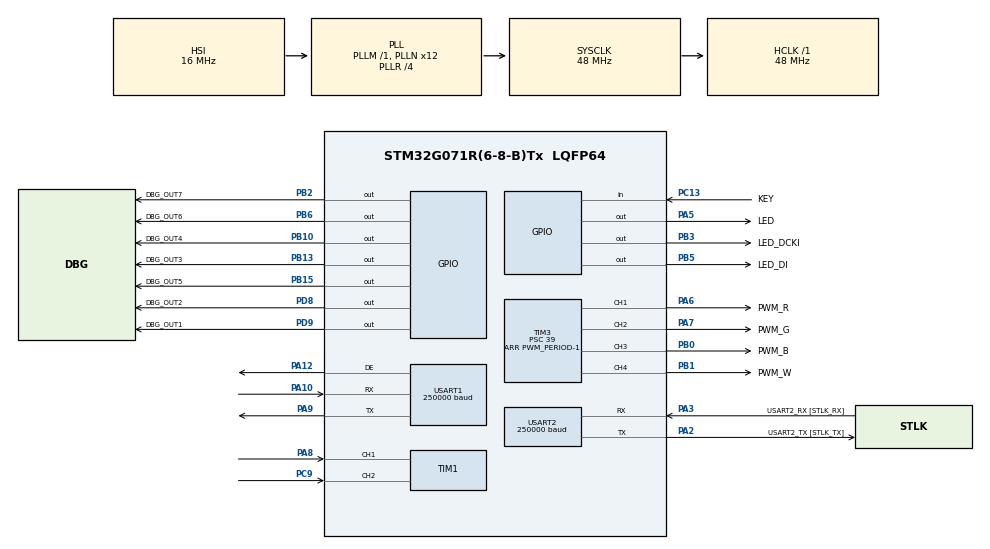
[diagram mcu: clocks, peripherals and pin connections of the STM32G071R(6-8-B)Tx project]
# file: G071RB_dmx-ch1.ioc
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Mcu.Family=STM32G0
Mcu.Name=STM32G071R(6-8-B)Tx
Mcu.Package=LQFP64
Mcu.UserConstants=PWM_PERIOD,1000;PWM_B_INIT,240
NVIC.TIM1_CC_IRQn=true\:0\:0\:false\:false\:true\:true\:true\:true
NVIC.USART1_IRQn=true\:0\:0\:false\:false\:true\:true\:true\:true
PA10.Mode=Asynchronous
PA10.Signal=USART1_RX
PA12\ [PA10].Mode=Hardware Flow Control (RS485)
PA12\ [PA10].Signal=USART1_DE
PA13.GPIO_Label=TMS
PA13.Mode=Serial_Wire
PA13.Signal=SYS_SWDIO
PA14-BOOT0.GPIO_Label=TCK
PA14-BOOT0.Mode=Serial_Wire
PA14-BOOT0.Signal=SYS_SWCLK
PA2.GPIO_Label=USART2_TX [STLK_TX]
PA2.GPIO_PuPd=GPIO_PULLUP
PA2.Mode=Asynchronous
PA2.Signal=USART2_TX
PA3.GPIO_Label=USART2_RX [STLK_RX]
PA3.GPIO_PuPd=GPIO_PULLUP
PA3.Mode=Asynchronous
PA3.Signal=USART2_RX
PA5.GPIO_Label=LED
PA5.GPIO_Speed=GPIO_SPEED_FREQ_LOW
PA5.Signal=GPIO_Output
PA6.GPIO_Label=PWM_R
PA6.Signal=S_TIM3_CH1
PA7.GPIO_Label=PWM_G
PA7.Signal=S_TIM3_CH2
PA8.Signal=S_TIM1_CH1
PA9.Mode=Asynchronous
PA9.Signal=USART1_TX
PB0.GPIO_Label=PWM_B
PB0.Signal=S_TIM3_CH3
PB1.GPIO_Label=PWM_W
PB1.Signal=S_TIM3_CH4
PB10.GPIO_Label=DBG_OUT4
PB10.Signal=GPIO_Output
PB13.GPIO_Label=DBG_OUT3
PB13.Signal=GPIO_Output
PB15.GPIO_Label=DBG_OUT5
PB15.Signal=GPIO_Output
PB2.GPIO_Label=DBG_OUT7
PB2.Signal=GPIO_Output
PB3.GPIO_Label=LED_DCKI
PB3.Signal=GPIO_Output
PB5.GPIO_Label=LED_DI
PB5.Signal=GPIO_Output
PB6.GPIO_Label=DBG_OUT6
PB6.Signal=GPIO_Output
PC13.GPIO_Label=KEY
PC13.Signal=GPIO_Input
PC14-OSC32_IN\ (PC14).Signal=RCC_OSC32_IN
PC15-OSC32_OUT\ (PC15).Signal=RCC_OSC32_OUT
PC9.Signal=S_TIM1_CH2
PD8.GPIO_Label=DBG_OUT2
PD8.Signal=GPIO_Output
PD9.GPIO_Label=DBG_OUT1
PD9.Signal=GPIO_Output
PF0-OSC_IN\ (PF0).GPIO_Label=MCO
PF0-OSC_IN\ (PF0).Signal=RCC_OSC_IN
ProjectManager.HeapSize=0x200
ProjectManager.StackSize=0x400
ProjectManager.TargetToolchain=STM32CubeIDE
RCC.ADCFreq_Value=48000000
RCC.AHBFreq_Value=48000000
RCC.APB1CLKDivider=RCC_HCLK_DIV2
RCC.CortexFreq_Value=48000000
RCC.EXTERNAL_CLOCK_VALUE=12288000
RCC.HCLKFreq_Value=48000000
RCC.HSE_VALUE=8000000
RCC.HSI_VALUE=16000000
RCC.LSE_VALUE=32768
RCC.PLLN=12
RCC.PLLQ=RCC_PLLQ_DIV6
RCC.PLLR=RCC_PLLR_DIV4
RCC.SYSCLKFreq_VALUE=48000000
RCC.SYSCLKSource=RCC_SYSCLKSOURCE_PLLCLK
RCC.USART1CLockSelection=RCC_USART1CLKSOURCE_SYSCLK
RCC.USART2CLockSelection=RCC_USART2CLKSOURCE_SYSCLK
RCC.VCOOutputFreq_Value=192000000
SH.S_TIM1_CH1.0=TIM1_CH1,Input_Capture1_from_TI1
SH.S_TIM1_CH2.0=TIM1_CH2,Input_Capture2_from_TI2
SH.S_TIM3_CH1.0=TIM3_CH1,PWM Generation1 CH1
SH.S_TIM3_CH2.0=TIM3_CH2,PWM Generation2 CH2
SH.S_TIM3_CH3.0=TIM3_CH3,PWM Generation3 CH3
SH.S_TIM3_CH4.0=TIM3_CH4,PWM Generation4 CH4
TIM1.Channel-Input_Capture1_from_TI1=TIM_CHANNEL_1
TIM1.Channel-Input_Capture2_from_TI2=TIM_CHANNEL_2
TIM1.ICPolarity_CH1=TIM_INPUTCHANNELPOLARITY_FALLING
TIM3.Channel-PWM\ Generation1\ CH1=TIM_CHANNEL_1
TIM3.Channel-PWM\ Generation2\ CH2=TIM_CHANNEL_2
TIM3.Channel-PWM\ Generation3\ CH3=TIM_CHANNEL_3
TIM3.Channel-PWM\ Generation4\ CH4=TIM_CHANNEL_4
TIM3.OCPolarity_1=TIM_OCPOLARITY_LOW
TIM3.OCPolarity_2=TIM_OCPOLARITY_LOW
TIM3.OCPolarity_3=TIM_OCPOLARITY_LOW
TIM3.OCPolarity_4=TIM_OCPOLARITY_LOW
TIM3.Period=PWM_PERIOD-1
TIM3.Prescaler=39
TIM3.Pulse-PWM\ Generation1\ CH1=0
TIM3.Pulse-PWM\ Generation2\ CH2=0
TIM3.Pulse-PWM\ Generation3\ CH3=PWM_B_INIT
TIM3.Pulse-PWM\ Generation4\ CH4=0
USART1.BaudRate=250000
USART1.StopBits=STOPBITS_2
USART1.VirtualMode-Asynchronous=VM_ASYNC
USART1.VirtualMode-Hardware\ Flow\ Control\ (RS485)=VM_ASYNC
USART2.BaudRate=250000
USART2.VirtualMode-Asynchronous=VM_ASYNC
VP_SYS_VS_DBSignals.Mode=DisableDeadBatterySignals
VP_TIM1_VS_ClockSourceINT.Mode=Internal
VP_TIM3_VS_ClockSourceINT.Mode=Internal
board=NUCLEO-G071RB

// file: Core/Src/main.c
/* USER CODE BEGIN Header */
/**
 ******************************************************************************
 * @file           : main.c
 * @brief          : Main program body
 ******************************************************************************
 * @attention
 *
 * Copyright (c) 2024 STMicroelectronics.
 * All rights reserved.
 *
 * This software is licensed under terms that can be found in the LICENSE file
 * in the root directory of this software component.
 * If no LICENSE file comes with this software, it is provided AS-IS.
 *
 ******************************************************************************
 */
/* USER CODE END Header */
#include "main.h"

/* USER CODE BEGIN Includes */
#include "core.h"
//#include "curve.h"
//#include "led.h"

//#include "usb_device.h"
/* USER CODE END Includes */

/* USER CODE BEGIN PD */
#define PROG_NAME       "G071RB DMX512 slave ch1+\r\n"
#define PROG_VERSION    "(02/06/24) beta 0.1\r\n"

/* USER CODE END PD */

TIM_HandleTypeDef htim1;
TIM_HandleTypeDef htim3;

UART_HandleTypeDef huart1;
UART_HandleTypeDef huart2;

void SystemClock_Config(void);
static void MX_GPIO_Init(void);
static void MX_USART2_UART_Init(void);
static void MX_TIM3_Init(void);
static void MX_USART1_UART_Init(void);
static void MX_TIM1_Init(void);
/* USER CODE BEGIN PFP */
#ifdef __GNUC__
/* With GCC/RAISONANCE, small printf (option LD Linker->Libraries->Small printf
 set to 'Yes') calls __io_putchar() */
#define PUTCHAR_PROTOTYPE int __io_putchar(int ch)
#else
#define PUTCHAR_PROTOTYPE int fputc(int ch, FILE *f)
#endif /* __GNUC__ */

/* USER CODE END PFP */

/* USER CODE BEGIN 0 */
PUTCHAR_PROTOTYPE {
    /* Place your implementation of fputc here */
    /* e.g. write a character to the USART1 and Loop until the end of transmission */
    HAL_UART_Transmit(&huart2, (uint8_t*) &ch, 1, 0xFFFF);

    return ch;
}

/* USER CODE END 0 */

int main(void)
{

  /* MCU Configuration--------------------------------------------------------*/

  /* Reset of all peripherals, Initializes the Flash interface and the Systick. */
  HAL_Init();

  /* Configure the system clock */
  SystemClock_Config();

  /* Initialize all configured peripherals */
  MX_GPIO_Init();
  MX_USART2_UART_Init();
  MX_TIM3_Init();
  MX_USART1_UART_Init();
  MX_TIM1_Init();
  /* USER CODE BEGIN 2 */

    if (!core_init())
        Error_Handler();

    printf(PROG_NAME);
    printf(PROG_VERSION);

  /* USER CODE END 2 */

  /* Infinite loop */
  /* USER CODE BEGIN WHILE */
    DBG_OUT1();
    DBG_OUT2();
    DBG_OUT3();
    DBG_OUT4();
    DBG_OUT5();
    DBG_OUT6();
    DBG_OUT7();

    while (1) {

        core_process_h24();
        //RGBW_red();

    /* USER CODE END WHILE */

    }
}

void SystemClock_Config(void)
{
  RCC_OscInitTypeDef RCC_OscInitStruct = {0};
  RCC_ClkInitTypeDef RCC_ClkInitStruct = {0};

  /** Configure the main internal regulator output voltage
  */
  HAL_PWREx_ControlVoltageScaling(PWR_REGULATOR_VOLTAGE_SCALE1);

  /** Initializes the RCC Oscillators according to the specified parameters
  * in the RCC_OscInitTypeDef structure.
  */
  RCC_OscInitStruct.OscillatorType = RCC_OSCILLATORTYPE_HSI;
  RCC_OscInitStruct.HSIState = RCC_HSI_ON;
  RCC_OscInitStruct.HSIDiv = RCC_HSI_DIV1;
  RCC_OscInitStruct.HSICalibrationValue = RCC_HSICALIBRATION_DEFAULT;
  RCC_OscInitStruct.PLL.PLLState = RCC_PLL_ON;
  RCC_OscInitStruct.PLL.PLLSource = RCC_PLLSOURCE_HSI;
  RCC_OscInitStruct.PLL.PLLM = RCC_PLLM_DIV1;
  RCC_OscInitStruct.PLL.PLLN = 12;
  RCC_OscInitStruct.PLL.PLLP = RCC_PLLP_DIV2;
  RCC_OscInitStruct.PLL.PLLQ = RCC_PLLQ_DIV6;
  RCC_OscInitStruct.PLL.PLLR = RCC_PLLR_DIV4;
  if (HAL_RCC_OscConfig(&RCC_OscInitStruct) != HAL_OK)
  {
    Error_Handler();
  }

  /** Initializes the CPU, AHB and APB buses clocks
  */
  RCC_ClkInitStruct.ClockType = RCC_CLOCKTYPE_HCLK|RCC_CLOCKTYPE_SYSCLK
                              |RCC_CLOCKTYPE_PCLK1;
  RCC_ClkInitStruct.SYSCLKSource = RCC_SYSCLKSOURCE_PLLCLK;
  RCC_ClkInitStruct.AHBCLKDivider = RCC_SYSCLK_DIV1;
  RCC_ClkInitStruct.APB1CLKDivider = RCC_HCLK_DIV2;

  if (HAL_RCC_ClockConfig(&RCC_ClkInitStruct, FLASH_LATENCY_1) != HAL_OK)
  {
    Error_Handler();
  }
}

static void MX_TIM1_Init(void)
{

  TIM_ClockConfigTypeDef sClockSourceConfig = {0};
  TIM_MasterConfigTypeDef sMasterConfig = {0};
  TIM_IC_InitTypeDef sConfigIC = {0};

  htim1.Instance = TIM1;
  htim1.Init.Prescaler = 0;
  htim1.Init.CounterMode = TIM_COUNTERMODE_UP;
  htim1.Init.Period = 65535;
  htim1.Init.ClockDivision = TIM_CLOCKDIVISION_DIV1;
  htim1.Init.RepetitionCounter = 0;
  htim1.Init.AutoReloadPreload = TIM_AUTORELOAD_PRELOAD_DISABLE;
  if (HAL_TIM_Base_Init(&htim1) != HAL_OK)
  {
    Error_Handler();
  }
  sClockSourceConfig.ClockSource = TIM_CLOCKSOURCE_INTERNAL;
  if (HAL_TIM_ConfigClockSource(&htim1, &sClockSourceConfig) != HAL_OK)
  {
    Error_Handler();
  }
  if (HAL_TIM_IC_Init(&htim1) != HAL_OK)
  {
    Error_Handler();
  }
  sMasterConfig.MasterOutputTrigger = TIM_TRGO_RESET;
  sMasterConfig.MasterOutputTrigger2 = TIM_TRGO2_RESET;
  sMasterConfig.MasterSlaveMode = TIM_MASTERSLAVEMODE_DISABLE;
  if (HAL_TIMEx_MasterConfigSynchronization(&htim1, &sMasterConfig) != HAL_OK)
  {
    Error_Handler();
  }
  sConfigIC.ICPolarity = TIM_INPUTCHANNELPOLARITY_FALLING;
  sConfigIC.ICSelection = TIM_ICSELECTION_DIRECTTI;
  sConfigIC.ICPrescaler = TIM_ICPSC_DIV1;
  sConfigIC.ICFilter = 0;
  if (HAL_TIM_IC_ConfigChannel(&htim1, &sConfigIC, TIM_CHANNEL_1) != HAL_OK)
  {
    Error_Handler();
  }
  sConfigIC.ICPolarity = TIM_INPUTCHANNELPOLARITY_RISING;
  if (HAL_TIM_IC_ConfigChannel(&htim1, &sConfigIC, TIM_CHANNEL_2) != HAL_OK)
  {
    Error_Handler();
  }
  /* USER CODE BEGIN TIM1_Init 2 */

    __HAL_TIM_ENABLE_IT(&htim1, TIM_IT_UPDATE);

    TIM_CCxChannelCmd(htim1.Instance, TIM_CHANNEL_1, TIM_CCx_ENABLE);
    TIM_CCxChannelCmd(htim1.Instance, TIM_CHANNEL_2, TIM_CCx_ENABLE);

    __HAL_TIM_DISABLE_IT(&htim1, TIM_IT_CC1);
    __HAL_TIM_DISABLE_IT(&htim1, TIM_IT_CC2);

    __HAL_TIM_CLEAR_FLAG(&htim1, TIM_IT_CC1);
    __HAL_TIM_CLEAR_FLAG(&htim1, TIM_IT_CC2);

    __HAL_TIM_ENABLE(&htim1);

    /*-h24
     HAL_NVIC_SetPriority(TIM2_IRQn, 0, 0);
     HAL_NVIC_EnableIRQ(TIM2_IRQn);
     */
    HAL_NVIC_SetPriority(TIM1_CC_IRQn, 0, 0);
    HAL_NVIC_EnableIRQ(TIM1_CC_IRQn);

  /* USER CODE END TIM1_Init 2 */

}

static void MX_TIM3_Init(void)
{

  TIM_ClockConfigTypeDef sClockSourceConfig = {0};
  TIM_MasterConfigTypeDef sMasterConfig = {0};
  TIM_OC_InitTypeDef sConfigOC = {0};

  htim3.Instance = TIM3;
  htim3.Init.Prescaler = 39;
  htim3.Init.CounterMode = TIM_COUNTERMODE_UP;
  htim3.Init.Period = PWM_PERIOD-1;
  htim3.Init.ClockDivision = TIM_CLOCKDIVISION_DIV1;
  htim3.Init.AutoReloadPreload = TIM_AUTORELOAD_PRELOAD_DISABLE;
  if (HAL_TIM_Base_Init(&htim3) != HAL_OK)
  {
    Error_Handler();
  }
  sClockSourceConfig.ClockSource = TIM_CLOCKSOURCE_INTERNAL;
  if (HAL_TIM_ConfigClockSource(&htim3, &sClockSourceConfig) != HAL_OK)
  {
    Error_Handler();
  }
  if (HAL_TIM_PWM_Init(&htim3) != HAL_OK)
  {
    Error_Handler();
  }
  sMasterConfig.MasterOutputTrigger = TIM_TRGO_RESET;
  sMasterConfig.MasterSlaveMode = TIM_MASTERSLAVEMODE_DISABLE;
  if (HAL_TIMEx_MasterConfigSynchronization(&htim3, &sMasterConfig) != HAL_OK)
  {
    Error_Handler();
  }
  sConfigOC.OCMode = TIM_OCMODE_PWM1;
  sConfigOC.Pulse = 0;
  sConfigOC.OCPolarity = TIM_OCPOLARITY_LOW;
  sConfigOC.OCFastMode = TIM_OCFAST_DISABLE;
  if (HAL_TIM_PWM_ConfigChannel(&htim3, &sConfigOC, TIM_CHANNEL_1) != HAL_OK)
  {
    Error_Handler();
  }
  if (HAL_TIM_PWM_ConfigChannel(&htim3, &sConfigOC, TIM_CHANNEL_2) != HAL_OK)
  {
    Error_Handler();
  }
  sConfigOC.Pulse = PWM_B_INIT;
  if (HAL_TIM_PWM_ConfigChannel(&htim3, &sConfigOC, TIM_CHANNEL_3) != HAL_OK)
  {
    Error_Handler();
  }
  sConfigOC.Pulse = 0;
  if (HAL_TIM_PWM_ConfigChannel(&htim3, &sConfigOC, TIM_CHANNEL_4) != HAL_OK)
  {
    Error_Handler();
  }
  HAL_TIM_MspPostInit(&htim3);

}

static void MX_USART1_UART_Init(void)
{

  huart1.Instance = USART1;
  huart1.Init.BaudRate = 250000;
  huart1.Init.WordLength = UART_WORDLENGTH_8B;
  huart1.Init.StopBits = UART_STOPBITS_2;
  huart1.Init.Parity = UART_PARITY_NONE;
  huart1.Init.Mode = UART_MODE_TX_RX;
  huart1.Init.HwFlowCtl = UART_HWCONTROL_NONE;
  huart1.Init.OverSampling = UART_OVERSAMPLING_16;
  huart1.Init.OneBitSampling = UART_ONE_BIT_SAMPLE_DISABLE;
  huart1.Init.ClockPrescaler = UART_PRESCALER_DIV1;
  huart1.AdvancedInit.AdvFeatureInit = UART_ADVFEATURE_NO_INIT;
  if (HAL_RS485Ex_Init(&huart1, UART_DE_POLARITY_HIGH, 0, 0) != HAL_OK)
  {
    Error_Handler();
  }
  if (HAL_UARTEx_SetTxFifoThreshold(&huart1, UART_TXFIFO_THRESHOLD_1_8) != HAL_OK)
  {
    Error_Handler();
  }
  if (HAL_UARTEx_SetRxFifoThreshold(&huart1, UART_RXFIFO_THRESHOLD_1_8) != HAL_OK)
  {
    Error_Handler();
  }
  if (HAL_UARTEx_DisableFifoMode(&huart1) != HAL_OK)
  {
    Error_Handler();
  }
  /* USER CODE BEGIN USART1_Init 2 */
    __HAL_UART_ENABLE_IT(&huart1, UART_IT_RXNE);
    __HAL_UART_ENABLE_IT(&huart1, UART_IT_ERR);

  /* USER CODE END USART1_Init 2 */

}

static void MX_USART2_UART_Init(void)
{

  huart2.Instance = USART2;
  huart2.Init.BaudRate = 250000;
  huart2.Init.WordLength = UART_WORDLENGTH_8B;
  huart2.Init.StopBits = UART_STOPBITS_1;
  huart2.Init.Parity = UART_PARITY_NONE;
  huart2.Init.Mode = UART_MODE_TX_RX;
  huart2.Init.HwFlowCtl = UART_HWCONTROL_NONE;
  huart2.Init.OverSampling = UART_OVERSAMPLING_16;
  huart2.Init.OneBitSampling = UART_ONE_BIT_SAMPLE_DISABLE;
  huart2.Init.ClockPrescaler = UART_PRESCALER_DIV1;
  huart2.AdvancedInit.AdvFeatureInit = UART_ADVFEATURE_NO_INIT;
  if (HAL_UART_Init(&huart2) != HAL_OK)
  {
    Error_Handler();
  }
  if (HAL_UARTEx_SetTxFifoThreshold(&huart2, UART_TXFIFO_THRESHOLD_1_8) != HAL_OK)
  {
    Error_Handler();
  }
  if (HAL_UARTEx_SetRxFifoThreshold(&huart2, UART_RXFIFO_THRESHOLD_1_8) != HAL_OK)
  {
    Error_Handler();
  }
  if (HAL_UARTEx_DisableFifoMode(&huart2) != HAL_OK)
  {
    Error_Handler();
  }

}

static void MX_GPIO_Init(void)
{
  GPIO_InitTypeDef GPIO_InitStruct = {0};

  /* GPIO Ports Clock Enable */
  __HAL_RCC_GPIOC_CLK_ENABLE();
  __HAL_RCC_GPIOF_CLK_ENABLE();
  __HAL_RCC_GPIOA_CLK_ENABLE();
  __HAL_RCC_GPIOB_CLK_ENABLE();
  __HAL_RCC_GPIOD_CLK_ENABLE();

  /*Configure GPIO pin Output Level */
  HAL_GPIO_WritePin(LED_GPIO_Port, LED_Pin, GPIO_PIN_RESET);

  /*Configure GPIO pin Output Level */
  HAL_GPIO_WritePin(GPIOB, DBG_OUT7_Pin|DBG_OUT4_Pin|DBG_OUT3_Pin|DBG_OUT5_Pin
                          |LED_DCKI_Pin|LED_DI_Pin|DBG_OUT6_Pin, GPIO_PIN_RESET);

  /*Configure GPIO pin Output Level */
  HAL_GPIO_WritePin(GPIOD, DBG_OUT2_Pin|DBG_OUT1_Pin, GPIO_PIN_RESET);

  /*Configure GPIO pin : KEY_Pin */
  GPIO_InitStruct.Pin = KEY_Pin;
  GPIO_InitStruct.Mode = GPIO_MODE_INPUT;
  GPIO_InitStruct.Pull = GPIO_NOPULL;
  HAL_GPIO_Init(KEY_GPIO_Port, &GPIO_InitStruct);

  /*Configure GPIO pin : LED_Pin */
  GPIO_InitStruct.Pin = LED_Pin;
  GPIO_InitStruct.Mode = GPIO_MODE_OUTPUT_PP;
  GPIO_InitStruct.Pull = GPIO_NOPULL;
  GPIO_InitStruct.Speed = GPIO_SPEED_FREQ_LOW;
  HAL_GPIO_Init(LED_GPIO_Port, &GPIO_InitStruct);

  /*Configure GPIO pins : DBG_OUT7_Pin DBG_OUT4_Pin DBG_OUT3_Pin DBG_OUT5_Pin
                           LED_DCKI_Pin LED_DI_Pin DBG_OUT6_Pin */
  GPIO_InitStruct.Pin = DBG_OUT7_Pin|DBG_OUT4_Pin|DBG_OUT3_Pin|DBG_OUT5_Pin
                          |LED_DCKI_Pin|LED_DI_Pin|DBG_OUT6_Pin;
  GPIO_InitStruct.Mode = GPIO_MODE_OUTPUT_PP;
  GPIO_InitStruct.Pull = GPIO_NOPULL;
  GPIO_InitStruct.Speed = GPIO_SPEED_FREQ_LOW;
  HAL_GPIO_Init(GPIOB, &GPIO_InitStruct);

  /*Configure GPIO pins : DBG_OUT2_Pin DBG_OUT1_Pin */
  GPIO_InitStruct.Pin = DBG_OUT2_Pin|DBG_OUT1_Pin;
  GPIO_InitStruct.Mode = GPIO_MODE_OUTPUT_PP;
  GPIO_InitStruct.Pull = GPIO_NOPULL;
  GPIO_InitStruct.Speed = GPIO_SPEED_FREQ_LOW;
  HAL_GPIO_Init(GPIOD, &GPIO_InitStruct);

/* USER CODE BEGIN MX_GPIO_Init_2 */
    my92xx_init(MY92XX_MODEL, MY92XX_CHIPS, MY92XX_COMMAND_DEFAULT);
    my92xx_init_blue();

/* USER CODE END MX_GPIO_Init_2 */
}

void Error_Handler(void)
{
  /* USER CODE BEGIN Error_Handler_Debug */
    /* User can add his own implementation to report the HAL error return state */
    __disable_irq();
    while (1) {
        printf("error handler\r\n"); //+h24
    }
  /* USER CODE END Error_Handler_Debug */
}
